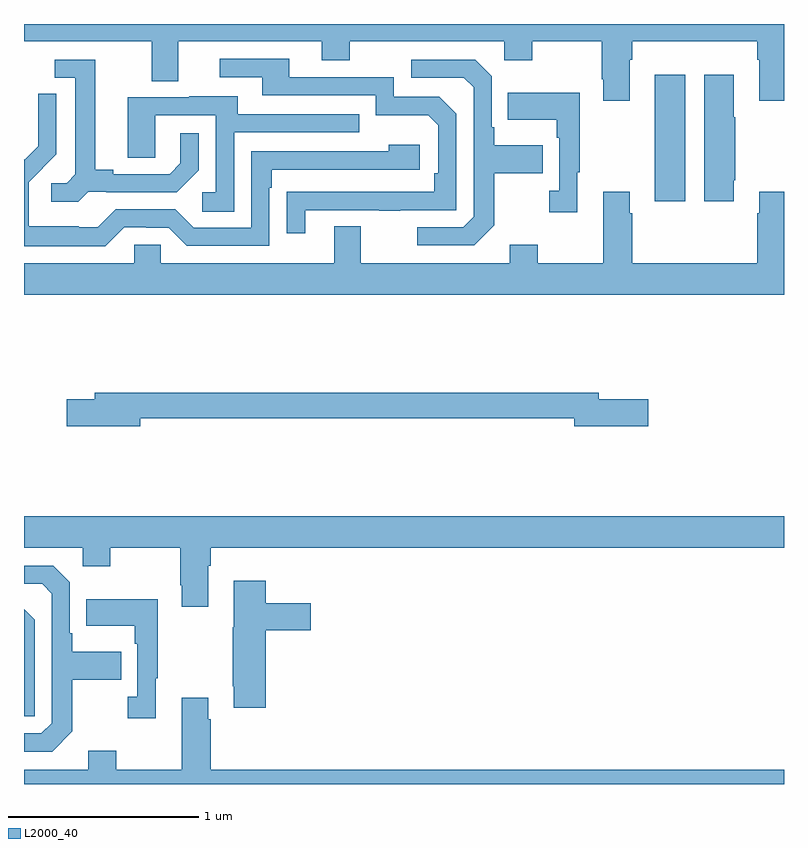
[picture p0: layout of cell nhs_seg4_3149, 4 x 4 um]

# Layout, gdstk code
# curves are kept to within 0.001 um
import gdstk
lib = gdstk.Library(unit=1e-6, precision=1e-09)
def R(c, l, rs):  # rectangles x0, y0, x1, y1
    for r in rs: c.add(gdstk.rectangle(r[:2], r[2:], *l))
def P(c, l, *ps):  # polygons
    for p in ps: c.add(gdstk.Polygon(p, *l))
L2000_40 = (2000, 40)

nhs_seg4_3149 = lib.new_cell('nhs_seg4_3149')
R(nhs_seg4_3149, L2000_40, [(280.319,807.966,280.48,808.633)])
P(nhs_seg4_3149, L2000_40, [(280.189,808.712),(280.202,808.712),(280.202,808.808),(280.859,808.808),(280.859,808.712),(280.871,808.712),(280.871,808.497),(281,808.497),(281,808.9),(277,808.9),(277,808.808),(277.673,808.808),(277.673,808.6),(277.813,808.6),(277.813,808.808),(278.567,808.808),(278.567,808.709),(278.715,808.709),(278.715,808.808),(279.528,808.808),(279.528,808.709),(279.675,808.709),(279.675,808.808),(280.042,808.808),(280.042,808.609),(280.049,808.609),(280.049,808.497),(280.189,808.497)],
  [(278.479,807.921),(278.869,807.921),(278.869,807.916),(278.981,807.916),(278.981,807.921),(279.276,807.921),(279.276,808.428),(279.186,808.518),(278.946,808.518),(278.946,808.62),(278.395,808.62),(278.395,808.716),(278.031,808.716),(278.031,808.62),(278.255,808.62),(278.255,808.524),(278.85,808.524),(278.85,808.421),(279.127,808.421),(279.18,808.368),(279.18,808.114),(279.16,808.114),(279.16,808.017),(278.383,808.016),(278.383,807.798),(278.479,807.798)],
  [(279.475,807.841),(279.475,808.114),(279.731,808.114),(279.731,808.261),(279.475,808.261),(279.475,808.357),(279.462,808.357),(279.462,808.626),(279.375,808.713),(279.039,808.713),(279.039,808.617),(279.315,808.617),(279.366,808.566),(279.366,807.885),(279.312,807.831),(279.069,807.831),(279.069,807.735),(279.369,807.735)],
  [(277.338,808.017),(277.432,808.017),(277.432,808.014),(277.804,808.014),(277.92,808.13),(277.92,808.324),(277.823,808.324),(277.823,808.167),(277.766,808.11),(277.471,808.11),(277.471,808.133),(277.375,808.133),(277.375,808.713),(277.161,808.713),(277.161,808.617),(277.271,808.617),(277.271,808.109),(277.224,808.062),(277.143,808.062),(277.143,807.965),(277.286,807.965)],
  [(280.735,808.078),(280.743,808.078),(280.743,808.409),(280.735,808.409),(280.735,808.633),(280.58,808.633),(280.58,807.966),(280.735,807.966)],
  [(279.913,808.121),(279.925,808.121),(279.925,808.537),(279.547,808.537),(279.547,808.397),(279.804,808.397),(279.804,808.301),(279.816,808.301),(279.816,808.022),(279.765,808.022),(279.765,807.909),(279.913,807.909)],
  [(277.527,807.831),(277.643,807.831),(277.643,807.828),(277.761,807.828),(277.857,807.732),(278.292,807.732),(278.292,808.037),(278.305,808.037),(278.305,808.134),(279.082,808.134),(279.082,808.264),(278.921,808.264),(278.921,808.23),(278.196,808.23),(278.196,807.828),(277.893,807.828),(277.797,807.924),(277.482,807.924),(277.389,807.831),(277.289,807.831),(277.289,807.835),(277.026,807.835),(277.026,807.969),(277.024,807.969),(277.024,808.066),(277.17,808.214),(277.17,808.532),(277.074,808.532),(277.074,808.378),(277.076,808.378),(277.076,808.256),(277.005,808.185),(277.002,808.188),(277,808.186),(277,807.731),(277.427,807.731)],
  [(278.106,808.329),(278.765,808.329),(278.765,808.425),(278.125,808.425),(278.125,808.519),(277.871,808.519),(277.871,808.515),(277.547,808.515),(277.547,808.195),(277.692,808.195),(277.692,808.419),(278.01,808.419),(278.01,808.014),(277.938,808.014),(277.938,807.913),(278.106,807.913)],
  [(281,808.018),(280.871,808.018),(280.871,807.905),(280.859,807.905),(280.859,807.64),(280.202,807.64),(280.202,807.905),(280.189,807.905),(280.189,808.018),(280.049,808.018),(280.049,807.64),(279.705,807.64),(279.705,807.739),(279.557,807.739),(279.557,807.64),(278.773,807.64),(278.773,807.835),(278.633,807.835),(278.633,807.64),(277.719,807.64),(277.719,807.738),(277.581,807.738),(277.581,807.64),(277,807.64),(277,807.476),(281,807.476)],
  [(277.612,806.824),(279.896,806.824),(279.896,806.782),(280.285,806.782),(280.285,806.924),(280.024,806.924),(280.024,806.96),(277.373,806.96),(277.373,806.924),(277.224,806.924),(277.224,806.782),(277.612,806.782)],
  [(277.969,806.048),(277.982,806.048),(277.982,806.144),(281,806.144),(281,806.308),(277,806.308),(277,806.144),(277.308,806.144),(277.308,806.045),(277.455,806.045),(277.455,806.144),(277.822,806.144),(277.822,805.945),(277.829,805.945),(277.829,805.833),(277.969,805.833)],
  [(277.255,805.177),(277.255,805.45),(277.511,805.45),(277.511,805.597),(277.255,805.597),(277.255,805.693),(277.242,805.693),(277.242,805.962),(277.155,806.049),(277,806.049),(277,805.953),(277.095,805.953),(277.146,805.902),(277.146,805.221),(277.092,805.167),(277,805.167),(277,805.071),(277.149,805.071)],
  [(278.273,805.709),(278.509,805.709),(278.509,805.851),(278.273,805.851),(278.273,805.969),(278.105,805.969),(278.105,805.725),(278.098,805.725),(278.098,805.414),(278.105,805.414),(278.105,805.302),(278.273,805.302)],
  [(277.693,805.457),(277.705,805.457),(277.705,805.873),(277.327,805.873),(277.327,805.733),(277.584,805.733),(277.584,805.637),(277.596,805.637),(277.596,805.358),(277.545,805.358),(277.545,805.245),(277.693,805.245)],
  [(277.056,805.764),(277,805.82),(277,805.257),(277.056,805.257)],
  [(281,804.976),(277.982,804.976),(277.982,805.241),(277.969,805.241),(277.969,805.354),(277.829,805.354),(277.829,804.976),(277.485,804.976),(277.485,805.075),(277.337,805.075),(277.337,804.976),(277,804.976),(277,804.9),(281,804.9)])

lib.write_gds('nhs_seg4_3149.gds')
